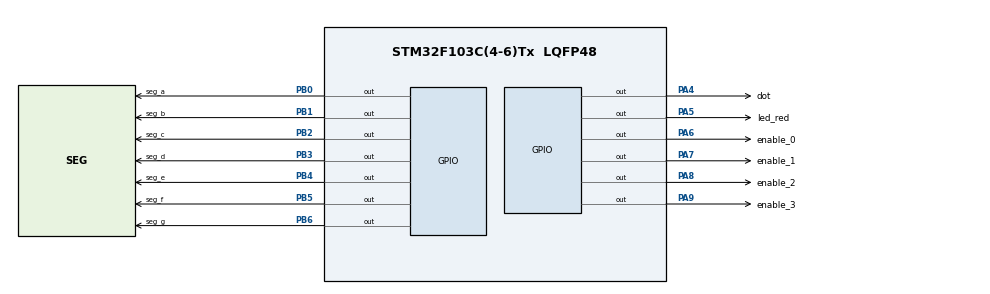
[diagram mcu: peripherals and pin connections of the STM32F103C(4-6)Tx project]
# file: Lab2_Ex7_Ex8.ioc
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Mcu.Family=STM32F1
Mcu.Name=STM32F103C(4-6)Tx
Mcu.Package=LQFP48
NVIC.PriorityGroup=NVIC_PRIORITYGROUP_4
NVIC.TIM2_IRQn=true\:0\:0\:false\:false\:true\:true\:true
PA4.GPIO_Label=dot
PA4.Signal=GPIO_Output
PA5.GPIO_Label=led_red
PA5.Signal=GPIO_Output
PA6.GPIO_Label=enable_0
PA6.Signal=GPIO_Output
PA7.GPIO_Label=enable_1
PA7.Signal=GPIO_Output
PA8.GPIO_Label=enable_2
PA8.Signal=GPIO_Output
PA9.GPIO_Label=enable_3
PA9.Signal=GPIO_Output
PB0.GPIO_Label=seg_a
PB0.Signal=GPIO_Output
PB1.GPIO_Label=seg_b
PB1.Signal=GPIO_Output
PB2.GPIO_Label=seg_c
PB2.Signal=GPIO_Output
PB3.GPIO_Label=seg_d
PB3.Signal=GPIO_Output
PB4.GPIO_Label=seg_e
PB4.Signal=GPIO_Output
PB5.GPIO_Label=seg_f
PB5.Signal=GPIO_Output
PB6.GPIO_Label=seg_g
PB6.Signal=GPIO_Output
ProjectManager.HeapSize=0x200
ProjectManager.StackSize=0x400
ProjectManager.TargetToolchain=STM32CubeIDE
RCC.APB1Freq_Value=8000000
RCC.APB2Freq_Value=8000000
TIM2.Period=10 - 1
TIM2.Prescaler=8000 - 1
VP_SYS_VS_ND.Mode=No_Debug
VP_TIM2_VS_ClockSourceINT.Mode=Internal
board=custom

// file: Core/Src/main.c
/* USER CODE BEGIN Header */
/**
  ******************************************************************************
  * @file           : main.c
  * @brief          : Main program body
  ******************************************************************************
  * @attention
  *
  * <h2><center>&copy; Copyright (c) 2022 STMicroelectronics.
  * All rights reserved.</center></h2>
  *
  * This software component is licensed by ST under BSD 3-Clause license,
  * the "License"; You may not use this file except in compliance with the
  * License. You may obtain a copy of the License at:
  *                        opensource.org/licenses/BSD-3-Clause
  *
  ******************************************************************************
  */
/* USER CODE END Header */
#include "main.h"

/* USER CODE BEGIN Includes */

#include"software_timer.h"

/* USER CODE END Includes */

TIM_HandleTypeDef htim2;

void SystemClock_Config(void);
static void MX_GPIO_Init(void);
static void MX_TIM2_Init(void);
/* USER CODE BEGIN PFP */

void display7SEG(int num,
		GPIO_TypeDef* a_seg_GPIO_Port, uint16_t a_seg_Pin,
		GPIO_TypeDef* b_seg_GPIO_Port, uint16_t b_seg_Pin,
		GPIO_TypeDef* c_seg_GPIO_Port, uint16_t c_seg_Pin,
		GPIO_TypeDef* d_seg_GPIO_Port, uint16_t d_seg_Pin,
		GPIO_TypeDef* e_seg_GPIO_Port, uint16_t e_seg_Pin,
		GPIO_TypeDef* f_seg_GPIO_Port, uint16_t f_seg_Pin,
		GPIO_TypeDef* g_seg_GPIO_Port, uint16_t g_seg_Pin);

void update7SEG(int num);

void updateClockBuffer(int hour,  int minute, int* led_buffer);

/* USER CODE END PFP */

int main(void)
{

  /* MCU Configuration--------------------------------------------------------*/

  /* Reset of all peripherals, Initializes the Flash interface and the Systick. */
  HAL_Init();

  /* Configure the system clock */
  SystemClock_Config();

  /* Initialize all configured peripherals */
  MX_GPIO_Init();
  MX_TIM2_Init();
  /* USER CODE BEGIN 2 */

  HAL_TIM_Base_Start_IT(&htim2);

  /* USER CODE END 2 */

  /* Infinite loop */
  /* USER CODE BEGIN WHILE */

  Set_timer(100, 0); //1s
  Set_timer(25, 1);  //250ms
  int hour = 15 , minute = 59 , second = 50;
  const int MAX_LED = 4;
  int led_buffer [4] = {1 , 2 , 3 , 4};
  int index_led = 0;
  while (1)
  {
	  if(timer_flag[0] == 1)
	  {
		  Set_timer(100, 0);
		  HAL_GPIO_TogglePin(led_red_GPIO_Port, led_red_Pin);
		  HAL_GPIO_TogglePin(dot_GPIO_Port, dot_Pin);
		  second++;
		  if(second >= 60)
		  {
			  second = 0;
			  minute++;
		  }
		  if(minute >= 60)
		  {
			  minute = 0;
			  hour++;
		  }
		  if(hour >= 24)
		  {
			  hour = 0;
		  }
	  }

	  updateClockBuffer(hour, minute, led_buffer);

	  if(timer_flag[1] == 1)
	  {
		  Set_timer(25, 1);
		  if(index_led >= MAX_LED)
		  {
			  index_led = 0;
		  }
		  switch (index_led)
		  {
			case 0:
				HAL_GPIO_WritePin(enable_0_GPIO_Port, enable_0_Pin, RESET);
				HAL_GPIO_WritePin(enable_1_GPIO_Port, enable_1_Pin, SET);
				HAL_GPIO_WritePin(enable_2_GPIO_Port, enable_2_Pin, SET);
				HAL_GPIO_WritePin(enable_3_GPIO_Port, enable_3_Pin, SET);
				break;
			case 1:
				HAL_GPIO_WritePin(enable_0_GPIO_Port, enable_0_Pin, SET);
				HAL_GPIO_WritePin(enable_1_GPIO_Port, enable_1_Pin, RESET);
				HAL_GPIO_WritePin(enable_2_GPIO_Port, enable_2_Pin, SET);
				HAL_GPIO_WritePin(enable_3_GPIO_Port, enable_3_Pin, SET);
				break;
			case 2:
				HAL_GPIO_WritePin(enable_0_GPIO_Port, enable_0_Pin, SET);
				HAL_GPIO_WritePin(enable_1_GPIO_Port, enable_1_Pin, SET);
				HAL_GPIO_WritePin(enable_2_GPIO_Port, enable_2_Pin, RESET);
				HAL_GPIO_WritePin(enable_3_GPIO_Port, enable_3_Pin, SET);
				break;
			case 3:
				HAL_GPIO_WritePin(enable_0_GPIO_Port, enable_0_Pin, SET);
				HAL_GPIO_WritePin(enable_1_GPIO_Port, enable_1_Pin, SET);
				HAL_GPIO_WritePin(enable_2_GPIO_Port, enable_2_Pin, SET);
				HAL_GPIO_WritePin(enable_3_GPIO_Port, enable_3_Pin, RESET);
				break;
			default:
				break;
		  }

		  display7SEG(led_buffer[index_led],
		  				  seg_a_GPIO_Port, seg_a_Pin,
		  				  seg_b_GPIO_Port, seg_b_Pin,
		  				  seg_c_GPIO_Port, seg_c_Pin,
		  				  seg_d_GPIO_Port, seg_d_Pin,
		  				  seg_e_GPIO_Port, seg_e_Pin,
		  				  seg_f_GPIO_Port, seg_f_Pin,
		  				  seg_g_GPIO_Port, seg_g_Pin);
		  index_led++;
	  }

    /* USER CODE END WHILE */

  }
}

void SystemClock_Config(void)
{
  RCC_OscInitTypeDef RCC_OscInitStruct = {0};
  RCC_ClkInitTypeDef RCC_ClkInitStruct = {0};

  /** Initializes the RCC Oscillators according to the specified parameters
  * in the RCC_OscInitTypeDef structure.
  */
  RCC_OscInitStruct.OscillatorType = RCC_OSCILLATORTYPE_HSI;
  RCC_OscInitStruct.HSIState = RCC_HSI_ON;
  RCC_OscInitStruct.HSICalibrationValue = RCC_HSICALIBRATION_DEFAULT;
  RCC_OscInitStruct.PLL.PLLState = RCC_PLL_NONE;
  if (HAL_RCC_OscConfig(&RCC_OscInitStruct) != HAL_OK)
  {
    Error_Handler();
  }
  /** Initializes the CPU, AHB and APB buses clocks
  */
  RCC_ClkInitStruct.ClockType = RCC_CLOCKTYPE_HCLK|RCC_CLOCKTYPE_SYSCLK
                              |RCC_CLOCKTYPE_PCLK1|RCC_CLOCKTYPE_PCLK2;
  RCC_ClkInitStruct.SYSCLKSource = RCC_SYSCLKSOURCE_HSI;
  RCC_ClkInitStruct.AHBCLKDivider = RCC_SYSCLK_DIV1;
  RCC_ClkInitStruct.APB1CLKDivider = RCC_HCLK_DIV1;
  RCC_ClkInitStruct.APB2CLKDivider = RCC_HCLK_DIV1;

  if (HAL_RCC_ClockConfig(&RCC_ClkInitStruct, FLASH_LATENCY_0) != HAL_OK)
  {
    Error_Handler();
  }
}

static void MX_TIM2_Init(void)
{

  TIM_ClockConfigTypeDef sClockSourceConfig = {0};
  TIM_MasterConfigTypeDef sMasterConfig = {0};

  htim2.Instance = TIM2;
  htim2.Init.Prescaler = 8000 - 1;
  htim2.Init.CounterMode = TIM_COUNTERMODE_UP;
  htim2.Init.Period = 10 - 1;
  htim2.Init.ClockDivision = TIM_CLOCKDIVISION_DIV1;
  htim2.Init.AutoReloadPreload = TIM_AUTORELOAD_PRELOAD_DISABLE;
  if (HAL_TIM_Base_Init(&htim2) != HAL_OK)
  {
    Error_Handler();
  }
  sClockSourceConfig.ClockSource = TIM_CLOCKSOURCE_INTERNAL;
  if (HAL_TIM_ConfigClockSource(&htim2, &sClockSourceConfig) != HAL_OK)
  {
    Error_Handler();
  }
  sMasterConfig.MasterOutputTrigger = TIM_TRGO_RESET;
  sMasterConfig.MasterSlaveMode = TIM_MASTERSLAVEMODE_DISABLE;
  if (HAL_TIMEx_MasterConfigSynchronization(&htim2, &sMasterConfig) != HAL_OK)
  {
    Error_Handler();
  }

}

static void MX_GPIO_Init(void)
{
  GPIO_InitTypeDef GPIO_InitStruct = {0};

  /* GPIO Ports Clock Enable */
  __HAL_RCC_GPIOA_CLK_ENABLE();
  __HAL_RCC_GPIOB_CLK_ENABLE();

  /*Configure GPIO pin Output Level */
  HAL_GPIO_WritePin(GPIOA, dot_Pin|led_red_Pin|enable_0_Pin|enable_1_Pin
                          |enable_2_Pin|enable_3_Pin, GPIO_PIN_RESET);

  /*Configure GPIO pin Output Level */
  HAL_GPIO_WritePin(GPIOB, seg_a_Pin|seg_b_Pin|seg_c_Pin|seg_d_Pin
                          |seg_e_Pin|seg_f_Pin|seg_g_Pin, GPIO_PIN_RESET);

  /*Configure GPIO pins : dot_Pin led_red_Pin enable_0_Pin enable_1_Pin
                           enable_2_Pin enable_3_Pin */
  GPIO_InitStruct.Pin = dot_Pin|led_red_Pin|enable_0_Pin|enable_1_Pin
                          |enable_2_Pin|enable_3_Pin;
  GPIO_InitStruct.Mode = GPIO_MODE_OUTPUT_PP;
  GPIO_InitStruct.Pull = GPIO_NOPULL;
  GPIO_InitStruct.Speed = GPIO_SPEED_FREQ_LOW;
  HAL_GPIO_Init(GPIOA, &GPIO_InitStruct);

  /*Configure GPIO pins : seg_a_Pin seg_b_Pin seg_c_Pin seg_d_Pin
                           seg_e_Pin seg_f_Pin seg_g_Pin */
  GPIO_InitStruct.Pin = seg_a_Pin|seg_b_Pin|seg_c_Pin|seg_d_Pin
                          |seg_e_Pin|seg_f_Pin|seg_g_Pin;
  GPIO_InitStruct.Mode = GPIO_MODE_OUTPUT_PP;
  GPIO_InitStruct.Pull = GPIO_NOPULL;
  GPIO_InitStruct.Speed = GPIO_SPEED_FREQ_LOW;
  HAL_GPIO_Init(GPIOB, &GPIO_InitStruct);

}

/* USER CODE BEGIN 4 */

void HAL_TIM_PeriodElapsedCallback(TIM_HandleTypeDef *htim)
{
	Run_timer();
}

void display7SEG(int num,
		GPIO_TypeDef* a_seg_GPIO_Port, uint16_t a_seg_Pin,
		GPIO_TypeDef* b_seg_GPIO_Port, uint16_t b_seg_Pin,
		GPIO_TypeDef* c_seg_GPIO_Port, uint16_t c_seg_Pin,
		GPIO_TypeDef* d_seg_GPIO_Port, uint16_t d_seg_Pin,
		GPIO_TypeDef* e_seg_GPIO_Port, uint16_t e_seg_Pin,
		GPIO_TypeDef* f_seg_GPIO_Port, uint16_t f_seg_Pin,
		GPIO_TypeDef* g_seg_GPIO_Port, uint16_t g_seg_Pin)
{
	switch (num) {
		case 0:
			HAL_GPIO_WritePin(a_seg_GPIO_Port, a_seg_Pin, RESET);
			HAL_GPIO_WritePin(b_seg_GPIO_Port, b_seg_Pin, RESET);
			HAL_GPIO_WritePin(c_seg_GPIO_Port, c_seg_Pin, RESET);
			HAL_GPIO_WritePin(d_seg_GPIO_Port, d_seg_Pin, RESET);
			HAL_GPIO_WritePin(e_seg_GPIO_Port, e_seg_Pin, RESET);
			HAL_GPIO_WritePin(f_seg_GPIO_Port, f_seg_Pin, RESET);
			HAL_GPIO_WritePin(g_seg_GPIO_Port, g_seg_Pin, SET);
			break;
		case 1:
			HAL_GPIO_WritePin(a_seg_GPIO_Port, a_seg_Pin, SET);
			HAL_GPIO_WritePin(b_seg_GPIO_Port, b_seg_Pin, RESET);
			HAL_GPIO_WritePin(c_seg_GPIO_Port, c_seg_Pin, RESET);
			HAL_GPIO_WritePin(d_seg_GPIO_Port, d_seg_Pin, SET);
			HAL_GPIO_WritePin(e_seg_GPIO_Port, e_seg_Pin, SET);
			HAL_GPIO_WritePin(f_seg_GPIO_Port, f_seg_Pin, SET);
			HAL_GPIO_WritePin(g_seg_GPIO_Port, g_seg_Pin, SET);
			break;
		case 2:
			HAL_GPIO_WritePin(a_seg_GPIO_Port, a_seg_Pin, RESET);
			HAL_GPIO_WritePin(b_seg_GPIO_Port, b_seg_Pin, RESET);
			HAL_GPIO_WritePin(c_seg_GPIO_Port, c_seg_Pin, SET);
			HAL_GPIO_WritePin(d_seg_GPIO_Port, d_seg_Pin, RESET);
			HAL_GPIO_WritePin(e_seg_GPIO_Port, e_seg_Pin, RESET);
			HAL_GPIO_WritePin(f_seg_GPIO_Port, f_seg_Pin, SET);
			HAL_GPIO_WritePin(g_seg_GPIO_Port, g_seg_Pin, RESET);
			break;
		case 3:
			HAL_GPIO_WritePin(a_seg_GPIO_Port, a_seg_Pin, RESET);
			HAL_GPIO_WritePin(b_seg_GPIO_Port, b_seg_Pin, RESET);
			HAL_GPIO_WritePin(c_seg_GPIO_Port, c_seg_Pin, RESET);
			HAL_GPIO_WritePin(d_seg_GPIO_Port, d_seg_Pin, RESET);
			HAL_GPIO_WritePin(e_seg_GPIO_Port, e_seg_Pin, SET);
			HAL_GPIO_WritePin(f_seg_GPIO_Port, f_seg_Pin, SET);
			HAL_GPIO_WritePin(g_seg_GPIO_Port, g_seg_Pin, RESET);
			break;
		case 4:
			HAL_GPIO_WritePin(a_seg_GPIO_Port, a_seg_Pin, SET);
			HAL_GPIO_WritePin(b_seg_GPIO_Port, b_seg_Pin, RESET);
			HAL_GPIO_WritePin(c_seg_GPIO_Port, c_seg_Pin, RESET);
			HAL_GPIO_WritePin(d_seg_GPIO_Port, d_seg_Pin, SET);
			HAL_GPIO_WritePin(e_seg_GPIO_Port, e_seg_Pin, SET);
			HAL_GPIO_WritePin(f_seg_GPIO_Port, f_seg_Pin, RESET);
			HAL_GPIO_WritePin(g_seg_GPIO_Port, g_seg_Pin, RESET);
			break;
		case 5:
			HAL_GPIO_WritePin(a_seg_GPIO_Port, a_seg_Pin, RESET);
			HAL_GPIO_WritePin(b_seg_GPIO_Port, b_seg_Pin, SET);
			HAL_GPIO_WritePin(c_seg_GPIO_Port, c_seg_Pin, RESET);
			HAL_GPIO_WritePin(d_seg_GPIO_Port, d_seg_Pin, RESET);
			HAL_GPIO_WritePin(e_seg_GPIO_Port, e_seg_Pin, SET);
			HAL_GPIO_WritePin(f_seg_GPIO_Port, f_seg_Pin, RESET);
			HAL_GPIO_WritePin(g_seg_GPIO_Port, g_seg_Pin, RESET);
			break;
		case 6:
			HAL_GPIO_WritePin(a_seg_GPIO_Port, a_seg_Pin, RESET);
			HAL_GPIO_WritePin(b_seg_GPIO_Port, b_seg_Pin, SET);
			HAL_GPIO_WritePin(c_seg_GPIO_Port, c_seg_Pin, RESET);
			HAL_GPIO_WritePin(d_seg_GPIO_Port, d_seg_Pin, RESET);
			HAL_GPIO_WritePin(e_seg_GPIO_Port, e_seg_Pin, RESET);
			HAL_GPIO_WritePin(f_seg_GPIO_Port, f_seg_Pin, RESET);
			HAL_GPIO_WritePin(g_seg_GPIO_Port, g_seg_Pin, RESET);
			break;
		case 7:
			HAL_GPIO_WritePin(a_seg_GPIO_Port, a_seg_Pin, RESET);
			HAL_GPIO_WritePin(b_seg_GPIO_Port, b_seg_Pin, RESET);
			HAL_GPIO_WritePin(c_seg_GPIO_Port, c_seg_Pin, RESET);
			HAL_GPIO_WritePin(d_seg_GPIO_Port, d_seg_Pin, SET);
			HAL_GPIO_WritePin(e_seg_GPIO_Port, e_seg_Pin, SET);
			HAL_GPIO_WritePin(f_seg_GPIO_Port, f_seg_Pin, SET);
			HAL_GPIO_WritePin(g_seg_GPIO_Port, g_seg_Pin, SET);
			break;
		case 8:
			HAL_GPIO_WritePin(a_seg_GPIO_Port, a_seg_Pin, RESET);
			HAL_GPIO_WritePin(b_seg_GPIO_Port, b_seg_Pin, RESET);
			HAL_GPIO_WritePin(c_seg_GPIO_Port, c_seg_Pin, RESET);
			HAL_GPIO_WritePin(d_seg_GPIO_Port, d_seg_Pin, RESET);
			HAL_GPIO_WritePin(e_seg_GPIO_Port, e_seg_Pin, RESET);
			HAL_GPIO_WritePin(f_seg_GPIO_Port, f_seg_Pin, RESET);
			HAL_GPIO_WritePin(g_seg_GPIO_Port, g_seg_Pin, RESET);
			break;
		case 9:
			HAL_GPIO_WritePin(a_seg_GPIO_Port, a_seg_Pin, RESET);
			HAL_GPIO_WritePin(b_seg_GPIO_Port, b_seg_Pin, RESET);
			HAL_GPIO_WritePin(c_seg_GPIO_Port, c_seg_Pin, RESET);
			HAL_GPIO_WritePin(d_seg_GPIO_Port, d_seg_Pin, RESET);
			HAL_GPIO_WritePin(e_seg_GPIO_Port, e_seg_Pin, SET);
			HAL_GPIO_WritePin(f_seg_GPIO_Port, f_seg_Pin, RESET);
			HAL_GPIO_WritePin(g_seg_GPIO_Port, g_seg_Pin, RESET);
			break;
		default:
			break;
	}
}

void update7SEG(int num)
{
	  switch (num)
	  {
		case 0:
			HAL_GPIO_WritePin(enable_0_GPIO_Port, enable_0_Pin, RESET);
			HAL_GPIO_WritePin(enable_1_GPIO_Port, enable_1_Pin, SET);
			HAL_GPIO_WritePin(enable_2_GPIO_Port, enable_2_Pin, SET);
			HAL_GPIO_WritePin(enable_3_GPIO_Port, enable_3_Pin, SET);
			break;
		case 1:
			HAL_GPIO_WritePin(enable_0_GPIO_Port, enable_0_Pin, SET);
			HAL_GPIO_WritePin(enable_1_GPIO_Port, enable_1_Pin, RESET);
			HAL_GPIO_WritePin(enable_2_GPIO_Port, enable_2_Pin, SET);
			HAL_GPIO_WritePin(enable_3_GPIO_Port, enable_3_Pin, SET);
			break;
		case 2:
			HAL_GPIO_WritePin(enable_0_GPIO_Port, enable_0_Pin, SET);
			HAL_GPIO_WritePin(enable_1_GPIO_Port, enable_1_Pin, SET);
			HAL_GPIO_WritePin(enable_2_GPIO_Port, enable_2_Pin, RESET);
			HAL_GPIO_WritePin(enable_3_GPIO_Port, enable_3_Pin, SET);
			break;
		case 3:
			HAL_GPIO_WritePin(enable_0_GPIO_Port, enable_0_Pin, SET);
			HAL_GPIO_WritePin(enable_1_GPIO_Port, enable_1_Pin, SET);
			HAL_GPIO_WritePin(enable_2_GPIO_Port, enable_2_Pin, SET);
			HAL_GPIO_WritePin(enable_3_GPIO_Port, enable_3_Pin, RESET);
			break;
		default:
			break;
	  }
}

void updateClockBuffer(int hour,  int minute, int* led_buffer)
{

	if(hour >= 0 && hour <10)
	{
		led_buffer[0] = 0;
		led_buffer[1] = hour;
	}
	else
	{
		led_buffer[0] = hour/10;
		led_buffer[1] = hour%10;
	}

	if(minute >= 0 && minute <10)
	{
		led_buffer[2] = 0;
		led_buffer[3] = minute;
	}
	else
	{
		led_buffer[2] = minute/10;
		led_buffer[3] = minute%10;
	}
}

/* USER CODE END 4 */

void Error_Handler(void)
{
  __disable_irq();
  while (1)
  {
  }
}

/************************ (C) COPYRIGHT STMicroelectronics *****END OF FILE****/
